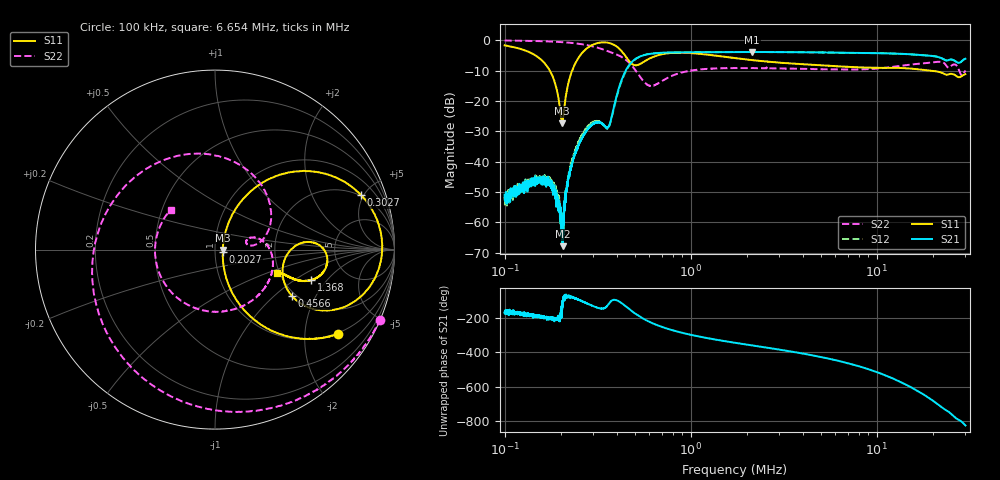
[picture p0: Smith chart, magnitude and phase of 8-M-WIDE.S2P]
!Keysight Technologies,E5063A,MY54504603,A.05.08
!Date: Wed Nov 25 12:56:07 2026
!Data & Calibration Information:
!Freq	S11:NONE(--)	S21:NONE(--)	S12:NONE(--)	S22:NONE(--)
# Hz S dB R 50
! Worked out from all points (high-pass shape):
!   5001 points, 100 kHz to 30 MHz, reference 50 ohm
!   highest |S21| = -3.80 dB at 2.141 MHz (marker M1); lowest = -67.9 dB at 205 kHz (marker M2)
!   |S21| within 3 dB of the highest: 488.7 kHz to 26.45 MHz (25.96 MHz wide, 193 % of centre); 28.72 MHz to end of sweep
!   lowest |S11| = -27.3 dB at 203.7 kHz (marker M3), VSWR 1.09, Z = 54.5 - j0.221 ohm
!   |S11| at or under -10 dB: 175.2 kHz to 230.5 kHz (55.34 kHz wide, 27.3 % of centre); 19.70493 MHz to 19.72991 MHz (24.98 kHz wide, 0.127 % of centre); 19.73 MHz to end of sweep
!   |S22| runs from -15.0 to 0.0 dB; largest |S21 - S12| = 0.014
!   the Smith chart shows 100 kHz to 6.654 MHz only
!   S11 on the Smith chart (normalised r, x): 100 kHz: 0.96, -2.93; 202.7 kHz: 1.09, -0.03; 302.7 kHz: 1.94, +4.79; 456.6 kHz: 1.90, -1.32; 1.368 MHz: 2.80, -1.39; 6.654 MHz: 1.95, -0.58
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100000  -1.60 -34.6  -50.91 -168.3  -52.85 -158.6  0.01 -23.1
167899.1  -8.26 -63.6  -45.31 160.8  -46.43 173.5  -0.28 -52.5
202720.6  -26.97 -17.5  -58.71 -171.5  -58.71 -166.2  -0.54 -68.8
203731.9  -27.33 -2.7  -62.54 -151.8  -62.72 -142.1  -0.55 -69.2
204996  -26.99 14.3  -67.91 -130.1  -64.20 -147.3  -0.56 -69.9
258982.6  -4.37 45.6  -32.57 -99.6  -31.45 -101.6  -1.21 -100.3
302702  -1.23 20.4  -27.33 -131.8  -26.70 -137.8  -2.07 -131.5
367065.3  -0.87 -10.2  -27.73 -109.5  -27.90 -113.0  -3.75 166.4
456640.7  -5.98 -31.2  -9.04 -138.3  -9.32 -138.6  -6.78 60.2
669687.6  -4.84 3.1  -4.12 116.6  -4.15 115.7  -14.14 18.3
1367753  -5.02 -17.6  -3.84 34.5  -3.87 34.4  -9.23 -28.4
1732051  -5.81 -19.9  -3.82 16.2  -3.83 16.1  -9.10 -46.0
2141017  -6.46 -20.3  -3.80 0.8  -3.81 0.7  -9.12 -62.8
4484814  -8.02 -19.8  -3.91 -56.5  -3.94 -56.5  -9.43 -147.5
6654186  -8.62 -20.2  -4.04 -96.9  -4.08 -96.7  -9.57 138.3
1.159933e7  -9.03 -22.3  -4.24 178.6  -4.25 178.8  -8.88 -30.8
1.384016e7  -9.12 -25.6  -4.41 141.0  -4.43 141.2  -8.27 -105.4
1.629125e7  -9.44 -29.5  -4.68 100.6  -4.71 100.8  -7.77 175.0
1.896232e7  -9.89 -32.8  -4.99 56.8  -4.99 57.1  -7.38 87.7
2.139834e7  -10.30 -36.1  -5.44 16.0  -5.43 16.2  -7.03 2.6
2.427813e7  -11.22 -34.8  -6.49 -24.8  -6.50 -24.7  -8.94 -96.5
3e7  -11.11 -32.8  -6.02 -106.2  -6.03 -106.0  -9.90 113.7
